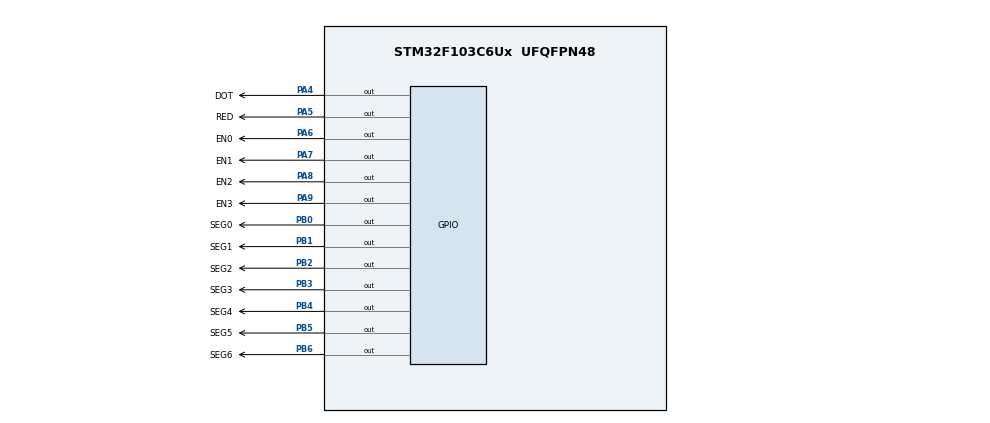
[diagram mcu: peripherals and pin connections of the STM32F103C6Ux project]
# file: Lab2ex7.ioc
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Mcu.Family=STM32F1
Mcu.Name=STM32F103C6Ux
Mcu.Package=UFQFPN48
NVIC.PriorityGroup=NVIC_PRIORITYGROUP_4
NVIC.TIM2_IRQn=true\:0\:0\:false\:false\:true\:true\:true
PA4.GPIO_Label=DOT
PA4.Signal=GPIO_Output
PA5.GPIO_Label=RED
PA5.Signal=GPIO_Output
PA6.GPIO_Label=EN0
PA6.Signal=GPIO_Output
PA7.GPIO_Label=EN1
PA7.Signal=GPIO_Output
PA8.GPIO_Label=EN2
PA8.Signal=GPIO_Output
PA9.GPIO_Label=EN3
PA9.Signal=GPIO_Output
PB0.GPIO_Label=SEG0
PB0.Signal=GPIO_Output
PB1.GPIO_Label=SEG1
PB1.Signal=GPIO_Output
PB2.GPIO_Label=SEG2
PB2.Signal=GPIO_Output
PB3.GPIO_Label=SEG3
PB3.Signal=GPIO_Output
PB4.GPIO_Label=SEG4
PB4.Signal=GPIO_Output
PB5.GPIO_Label=SEG5
PB5.Signal=GPIO_Output
PB6.GPIO_Label=SEG6
PB6.Signal=GPIO_Output
ProjectManager.HeapSize=0x200
ProjectManager.StackSize=0x400
ProjectManager.TargetToolchain=STM32CubeIDE
RCC.APB1Freq_Value=8000000
RCC.APB2Freq_Value=8000000
TIM2.Prescaler=7999
VP_SYS_VS_ND.Mode=No_Debug
VP_TIM2_VS_ClockSourceINT.Mode=Internal
board=custom

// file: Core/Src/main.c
/* USER CODE BEGIN Header */
/**
  ******************************************************************************
  * @file           : main.c
  * @brief          : Main program body
  ******************************************************************************
  * @attention
  *
  * <h2><center>&copy; Copyright (c) 2023 STMicroelectronics.
  * All rights reserved.</center></h2>
  *
  * This software component is licensed by ST under BSD 3-Clause license,
  * the "License"; You may not use this file except in compliance with the
  * License. You may obtain a copy of the License at:
  *                        opensource.org/licenses/BSD-3-Clause
  *
  ******************************************************************************
  */
/* USER CODE END Header */
#include "main.h"

TIM_HandleTypeDef htim2;

void SystemClock_Config(void);
static void MX_GPIO_Init(void);
static void MX_TIM2_Init(void);

/* USER CODE BEGIN 0 */
const int MAX_LED=4;
int index_led=0;
int led_buffer[4]= {1, 2, 3, 4};
void display7SEG(int num){
	if(num <=0){
			  HAL_GPIO_WritePin(SEG0_GPIO_Port, SEG0_Pin, RESET);
			  HAL_GPIO_WritePin(SEG1_GPIO_Port, SEG1_Pin, RESET);
			  HAL_GPIO_WritePin(SEG2_GPIO_Port, SEG2_Pin, RESET);
			  HAL_GPIO_WritePin(SEG3_GPIO_Port, SEG3_Pin, RESET);
			  HAL_GPIO_WritePin(SEG4_GPIO_Port, SEG4_Pin, RESET);
			  HAL_GPIO_WritePin(SEG5_GPIO_Port, SEG5_Pin, RESET);
			  HAL_GPIO_WritePin(SEG6_GPIO_Port, SEG6_Pin, SET);
		  }
		  if(num == 1){
			  HAL_GPIO_WritePin(SEG0_GPIO_Port, SEG0_Pin, SET);
			  HAL_GPIO_WritePin(SEG1_GPIO_Port, SEG1_Pin, RESET);
			  HAL_GPIO_WritePin(SEG2_GPIO_Port, SEG2_Pin, RESET);
			  HAL_GPIO_WritePin(SEG3_GPIO_Port, SEG3_Pin, SET);
			  HAL_GPIO_WritePin(SEG4_GPIO_Port, SEG4_Pin, SET);
			  HAL_GPIO_WritePin(SEG5_GPIO_Port, SEG5_Pin, SET);
			  HAL_GPIO_WritePin(SEG6_GPIO_Port, SEG6_Pin, SET);
		  }
		  if(num == 2){
			  HAL_GPIO_WritePin(SEG0_GPIO_Port, SEG0_Pin, RESET);
			  HAL_GPIO_WritePin(SEG1_GPIO_Port, SEG1_Pin, RESET);
			  HAL_GPIO_WritePin(SEG2_GPIO_Port, SEG2_Pin, SET);
			  HAL_GPIO_WritePin(SEG3_GPIO_Port, SEG3_Pin, RESET);
			  HAL_GPIO_WritePin(SEG4_GPIO_Port, SEG4_Pin, RESET);
			  HAL_GPIO_WritePin(SEG5_GPIO_Port, SEG5_Pin, SET);
			  HAL_GPIO_WritePin(SEG6_GPIO_Port, SEG6_Pin, RESET);
		  }
		  if(num == 3){
			  HAL_GPIO_WritePin(SEG0_GPIO_Port, SEG0_Pin, RESET);
			  HAL_GPIO_WritePin(SEG1_GPIO_Port, SEG1_Pin, RESET);
			  HAL_GPIO_WritePin(SEG2_GPIO_Port, SEG2_Pin, RESET);
			  HAL_GPIO_WritePin(SEG3_GPIO_Port, SEG3_Pin, RESET);
			  HAL_GPIO_WritePin(SEG4_GPIO_Port, SEG4_Pin, SET);
			  HAL_GPIO_WritePin(SEG5_GPIO_Port, SEG5_Pin, SET);
			  HAL_GPIO_WritePin(SEG6_GPIO_Port, SEG6_Pin, RESET);
		  }
		  if(num == 4){
			  HAL_GPIO_WritePin(SEG0_GPIO_Port, SEG0_Pin, SET);
			  HAL_GPIO_WritePin(SEG1_GPIO_Port, SEG1_Pin, RESET);
			  HAL_GPIO_WritePin(SEG2_GPIO_Port, SEG2_Pin, RESET);
			  HAL_GPIO_WritePin(SEG3_GPIO_Port, SEG3_Pin, SET);
			  HAL_GPIO_WritePin(SEG4_GPIO_Port, SEG4_Pin, SET);
			  HAL_GPIO_WritePin(SEG5_GPIO_Port, SEG5_Pin, RESET);
			  HAL_GPIO_WritePin(SEG6_GPIO_Port, SEG6_Pin, RESET);
		  }
		  if(num == 5){
			  HAL_GPIO_WritePin(SEG0_GPIO_Port, SEG0_Pin, RESET);
			  HAL_GPIO_WritePin(SEG1_GPIO_Port, SEG1_Pin, SET);
			  HAL_GPIO_WritePin(SEG2_GPIO_Port, SEG2_Pin, RESET);
			  HAL_GPIO_WritePin(SEG3_GPIO_Port, SEG3_Pin, RESET);
			  HAL_GPIO_WritePin(SEG4_GPIO_Port, SEG4_Pin, SET);
			  HAL_GPIO_WritePin(SEG5_GPIO_Port, SEG5_Pin, RESET);
			  HAL_GPIO_WritePin(SEG6_GPIO_Port, SEG6_Pin, RESET);
		  }
		  if(num == 6){
			  HAL_GPIO_WritePin(SEG0_GPIO_Port, SEG0_Pin, RESET);
			  HAL_GPIO_WritePin(SEG1_GPIO_Port, SEG1_Pin, SET);
			  HAL_GPIO_WritePin(SEG2_GPIO_Port, SEG2_Pin, RESET);
			  HAL_GPIO_WritePin(SEG3_GPIO_Port, SEG3_Pin, RESET);
			  HAL_GPIO_WritePin(SEG4_GPIO_Port, SEG4_Pin, RESET);
			  HAL_GPIO_WritePin(SEG5_GPIO_Port, SEG5_Pin, RESET);
			  HAL_GPIO_WritePin(SEG6_GPIO_Port, SEG6_Pin, RESET);
		  }
		  if(num == 7){
			  HAL_GPIO_WritePin(SEG0_GPIO_Port, SEG0_Pin, RESET);
			  HAL_GPIO_WritePin(SEG1_GPIO_Port, SEG1_Pin, RESET);
			  HAL_GPIO_WritePin(SEG2_GPIO_Port, SEG2_Pin, RESET);
			  HAL_GPIO_WritePin(SEG3_GPIO_Port, SEG3_Pin, SET);
			  HAL_GPIO_WritePin(SEG4_GPIO_Port, SEG4_Pin, SET);
			  HAL_GPIO_WritePin(SEG5_GPIO_Port, SEG5_Pin, SET);
			  HAL_GPIO_WritePin(SEG6_GPIO_Port, SEG6_Pin, SET);
		  }
		  if(num == 8){
			  HAL_GPIO_WritePin(SEG0_GPIO_Port, SEG0_Pin, RESET);
			  HAL_GPIO_WritePin(SEG1_GPIO_Port, SEG1_Pin, RESET);
			  HAL_GPIO_WritePin(SEG2_GPIO_Port, SEG2_Pin, RESET);
			  HAL_GPIO_WritePin(SEG3_GPIO_Port, SEG3_Pin, RESET);
			  HAL_GPIO_WritePin(SEG4_GPIO_Port, SEG4_Pin, RESET);
			  HAL_GPIO_WritePin(SEG5_GPIO_Port, SEG5_Pin, RESET);
			  HAL_GPIO_WritePin(SEG6_GPIO_Port, SEG6_Pin, RESET);
		  }
		  if(num >= 9){
			  HAL_GPIO_WritePin(SEG0_GPIO_Port, SEG0_Pin, RESET);
			  HAL_GPIO_WritePin(SEG1_GPIO_Port, SEG1_Pin, RESET);
			  HAL_GPIO_WritePin(SEG2_GPIO_Port, SEG2_Pin, RESET);
			  HAL_GPIO_WritePin(SEG3_GPIO_Port, SEG3_Pin, RESET);
			  HAL_GPIO_WritePin(SEG4_GPIO_Port, SEG4_Pin, RESET);
			  HAL_GPIO_WritePin(SEG5_GPIO_Port, SEG5_Pin, SET);
			  HAL_GPIO_WritePin(SEG6_GPIO_Port, SEG6_Pin, RESET);
		  }
}

void update7SEG ( int index ){
	if(index >= 4) index = 0;
	switch (index) {
	case 0:
		HAL_GPIO_WritePin(EN0_GPIO_Port, EN0_Pin, 0);
		HAL_GPIO_WritePin(EN1_GPIO_Port, EN1_Pin, 1);
		HAL_GPIO_WritePin(EN2_GPIO_Port, EN2_Pin, 1);
		HAL_GPIO_WritePin(EN3_GPIO_Port, EN3_Pin, 1);
		display7SEG(led_buffer[0]);
		break;
	case 1:
		HAL_GPIO_WritePin(EN0_GPIO_Port, EN0_Pin, 1);
		HAL_GPIO_WritePin(EN1_GPIO_Port, EN1_Pin, 0);
		HAL_GPIO_WritePin(EN2_GPIO_Port, EN2_Pin, 1);
		HAL_GPIO_WritePin(EN3_GPIO_Port, EN3_Pin, 1);
		display7SEG(led_buffer[1]);
		break;
	case 2:
		HAL_GPIO_WritePin(EN0_GPIO_Port, EN0_Pin, 1);
		HAL_GPIO_WritePin(EN1_GPIO_Port, EN1_Pin, 1);
		HAL_GPIO_WritePin(EN2_GPIO_Port, EN2_Pin, 0);
		HAL_GPIO_WritePin(EN3_GPIO_Port, EN3_Pin, 1);
		display7SEG(led_buffer[2]);
		break;
	case 3:
		HAL_GPIO_WritePin(EN0_GPIO_Port, EN0_Pin, 1);
		HAL_GPIO_WritePin(EN1_GPIO_Port, EN1_Pin, 1);
		HAL_GPIO_WritePin(EN2_GPIO_Port, EN2_Pin, 1);
		HAL_GPIO_WritePin(EN3_GPIO_Port, EN3_Pin, 0);
		display7SEG(led_buffer[3]);
		break;
	default:
		HAL_GPIO_WritePin(EN0_GPIO_Port, EN0_Pin, 1);
		HAL_GPIO_WritePin(EN1_GPIO_Port, EN1_Pin, 1);
		HAL_GPIO_WritePin(EN2_GPIO_Port, EN2_Pin, 1);
		HAL_GPIO_WritePin(EN3_GPIO_Port, EN3_Pin, 1);
		break;
	}
}

int hour = 15, minute = 8, second = 50;
void updateClockBuffer(){
	led_buffer[0]= hour/10;
	led_buffer[1]= hour%10;
	led_buffer[2]= minute/10;
	led_buffer[3]= minute%10;
	update7SEG(index_led++);
}

struct Timer{
	int counter;
	int flag;
};
void setTimer(struct Timer* timer, int time ){
	timer->flag=0;
	timer->counter=time;
}
void runTimer(struct Timer* timer){
	timer->counter--;
	if(timer->counter <= 0){
		timer->flag=1;
	}
}

struct Timer timer1;
/* USER CODE END 0 */

int main(void)
{

  /* MCU Configuration--------------------------------------------------------*/

  /* Reset of all peripherals, Initializes the Flash interface and the Systick. */
  HAL_Init();

  /* Configure the system clock */
  SystemClock_Config();

  /* Initialize all configured peripherals */
  MX_GPIO_Init();
  MX_TIM2_Init();
  /* USER CODE BEGIN 2 */
  setTimer(&timer1, 100);
	HAL_TIM_Base_Start_IT(&htim2);
  /* USER CODE END 2 */

  /* Infinite loop */
  /* USER CODE BEGIN WHILE */
  while (1)
  {
		second++;
		if (second >= 60) {
			second = 0;
			minute++;
		}
		if (minute >= 60) {
			minute = 0;
			hour++;
		}
		if (hour >= 24) {
			hour = 0;
		}
		if (timer1.flag == 1) {
			updateClockBuffer();
			HAL_GPIO_TogglePin(DOT_GPIO_Port, DOT_Pin);
			setTimer(&timer1, 100);
		}
    /* USER CODE END WHILE */

  }
}

void SystemClock_Config(void)
{
  RCC_OscInitTypeDef RCC_OscInitStruct = {0};
  RCC_ClkInitTypeDef RCC_ClkInitStruct = {0};

  /** Initializes the RCC Oscillators according to the specified parameters
  * in the RCC_OscInitTypeDef structure.
  */
  RCC_OscInitStruct.OscillatorType = RCC_OSCILLATORTYPE_HSI;
  RCC_OscInitStruct.HSIState = RCC_HSI_ON;
  RCC_OscInitStruct.HSICalibrationValue = RCC_HSICALIBRATION_DEFAULT;
  RCC_OscInitStruct.PLL.PLLState = RCC_PLL_NONE;
  if (HAL_RCC_OscConfig(&RCC_OscInitStruct) != HAL_OK)
  {
    Error_Handler();
  }
  /** Initializes the CPU, AHB and APB buses clocks
  */
  RCC_ClkInitStruct.ClockType = RCC_CLOCKTYPE_HCLK|RCC_CLOCKTYPE_SYSCLK
                              |RCC_CLOCKTYPE_PCLK1|RCC_CLOCKTYPE_PCLK2;
  RCC_ClkInitStruct.SYSCLKSource = RCC_SYSCLKSOURCE_HSI;
  RCC_ClkInitStruct.AHBCLKDivider = RCC_SYSCLK_DIV1;
  RCC_ClkInitStruct.APB1CLKDivider = RCC_HCLK_DIV1;
  RCC_ClkInitStruct.APB2CLKDivider = RCC_HCLK_DIV1;

  if (HAL_RCC_ClockConfig(&RCC_ClkInitStruct, FLASH_LATENCY_0) != HAL_OK)
  {
    Error_Handler();
  }
}

static void MX_TIM2_Init(void)
{

  TIM_ClockConfigTypeDef sClockSourceConfig = {0};
  TIM_MasterConfigTypeDef sMasterConfig = {0};

  htim2.Instance = TIM2;
  htim2.Init.Prescaler = 7999;
  htim2.Init.CounterMode = TIM_COUNTERMODE_UP;
  htim2.Init.Period = 65535;
  htim2.Init.ClockDivision = TIM_CLOCKDIVISION_DIV1;
  htim2.Init.AutoReloadPreload = TIM_AUTORELOAD_PRELOAD_DISABLE;
  if (HAL_TIM_Base_Init(&htim2) != HAL_OK)
  {
    Error_Handler();
  }
  sClockSourceConfig.ClockSource = TIM_CLOCKSOURCE_INTERNAL;
  if (HAL_TIM_ConfigClockSource(&htim2, &sClockSourceConfig) != HAL_OK)
  {
    Error_Handler();
  }
  sMasterConfig.MasterOutputTrigger = TIM_TRGO_RESET;
  sMasterConfig.MasterSlaveMode = TIM_MASTERSLAVEMODE_DISABLE;
  if (HAL_TIMEx_MasterConfigSynchronization(&htim2, &sMasterConfig) != HAL_OK)
  {
    Error_Handler();
  }

}

static void MX_GPIO_Init(void)
{
  GPIO_InitTypeDef GPIO_InitStruct = {0};

  /* GPIO Ports Clock Enable */
  __HAL_RCC_GPIOA_CLK_ENABLE();
  __HAL_RCC_GPIOB_CLK_ENABLE();

  /*Configure GPIO pin Output Level */
  HAL_GPIO_WritePin(GPIOA, DOT_Pin|RED_Pin|EN0_Pin|EN1_Pin
                          |EN2_Pin|EN3_Pin, GPIO_PIN_RESET);

  /*Configure GPIO pin Output Level */
  HAL_GPIO_WritePin(GPIOB, SEG0_Pin|SEG1_Pin|SEG2_Pin|SEG3_Pin
                          |SEG4_Pin|SEG5_Pin|SEG6_Pin, GPIO_PIN_RESET);

  /*Configure GPIO pins : DOT_Pin RED_Pin EN0_Pin EN1_Pin
                           EN2_Pin EN3_Pin */
  GPIO_InitStruct.Pin = DOT_Pin|RED_Pin|EN0_Pin|EN1_Pin
                          |EN2_Pin|EN3_Pin;
  GPIO_InitStruct.Mode = GPIO_MODE_OUTPUT_PP;
  GPIO_InitStruct.Pull = GPIO_NOPULL;
  GPIO_InitStruct.Speed = GPIO_SPEED_FREQ_LOW;
  HAL_GPIO_Init(GPIOA, &GPIO_InitStruct);

  /*Configure GPIO pins : SEG0_Pin SEG1_Pin SEG2_Pin SEG3_Pin
                           SEG4_Pin SEG5_Pin SEG6_Pin */
  GPIO_InitStruct.Pin = SEG0_Pin|SEG1_Pin|SEG2_Pin|SEG3_Pin
                          |SEG4_Pin|SEG5_Pin|SEG6_Pin;
  GPIO_InitStruct.Mode = GPIO_MODE_OUTPUT_PP;
  GPIO_InitStruct.Pull = GPIO_NOPULL;
  GPIO_InitStruct.Speed = GPIO_SPEED_FREQ_LOW;
  HAL_GPIO_Init(GPIOB, &GPIO_InitStruct);

}

/* USER CODE BEGIN 4 */
void HAL_TIM_PeriodElapsedCallback( TIM_HandleTypeDef* htim){
	runTimer(&timer1);

}
/* USER CODE END 4 */

void Error_Handler(void)
{
  __disable_irq();
  while (1)
  {
  }
}

/************************ (C) COPYRIGHT STMicroelectronics *****END OF FILE****/
